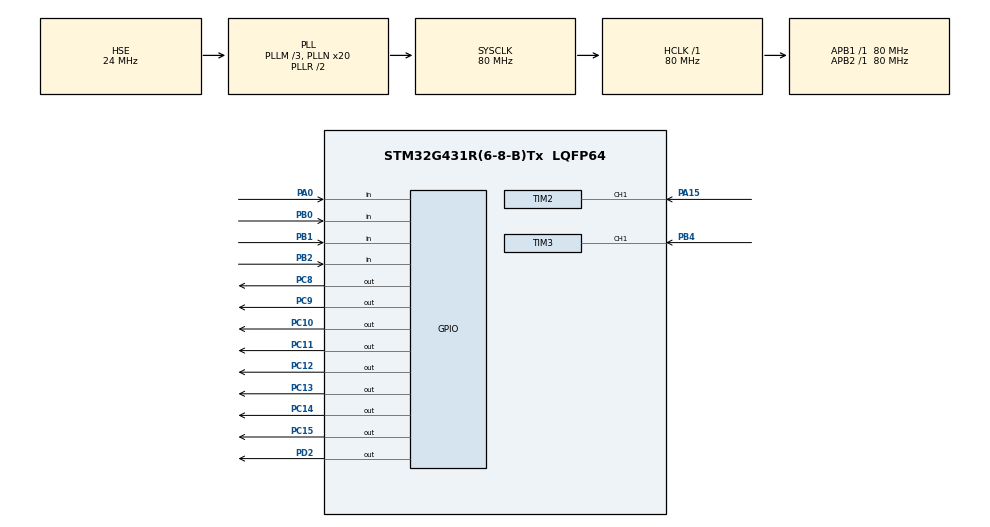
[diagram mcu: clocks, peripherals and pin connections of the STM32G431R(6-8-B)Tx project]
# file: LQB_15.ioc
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Mcu.Family=STM32G4
Mcu.Name=STM32G431R(6-8-B)Tx
Mcu.Package=LQFP64
NVIC.PriorityGroup=NVIC_PRIORITYGROUP_4
NVIC.TIM2_IRQn=true\:1\:0\:true\:false\:true\:true\:true\:true
NVIC.TIM3_IRQn=true\:1\:0\:true\:false\:true\:true\:true\:true
NVIC.TIM6_DAC_IRQn=true\:1\:0\:true\:false\:true\:true\:true\:true
PA0.GPIO_Mode=GPIO_MODE_INPUT
PA0.GPIO_PuPd=GPIO_NOPULL
PA0.Signal=GPIO_Input
PA13.Mode=Serial_Wire
PA13.Signal=SYS_JTMS-SWDIO
PA14.Mode=Serial_Wire
PA14.Signal=SYS_JTCK-SWCLK
PA15.Signal=S_TIM2_CH1
PB0.GPIO_Mode=GPIO_MODE_INPUT
PB0.GPIO_PuPd=GPIO_NOPULL
PB0.Signal=GPIO_Input
PB1.GPIO_Mode=GPIO_MODE_INPUT
PB1.GPIO_PuPd=GPIO_NOPULL
PB1.Signal=GPIO_Input
PB2.GPIO_Mode=GPIO_MODE_INPUT
PB2.GPIO_PuPd=GPIO_NOPULL
PB2.Signal=GPIO_Input
PB4.Signal=S_TIM3_CH1
PC10.GPIO_ModeDefaultOutputPP=GPIO_MODE_OUTPUT_PP
PC10.GPIO_PuPd=GPIO_NOPULL
PC10.GPIO_Speed=GPIO_SPEED_FREQ_LOW
PC10.PinState=GPIO_PIN_SET
PC10.Signal=GPIO_Output
PC11.GPIO_ModeDefaultOutputPP=GPIO_MODE_OUTPUT_PP
PC11.GPIO_PuPd=GPIO_NOPULL
PC11.GPIO_Speed=GPIO_SPEED_FREQ_LOW
PC11.PinState=GPIO_PIN_SET
PC11.Signal=GPIO_Output
PC12.GPIO_ModeDefaultOutputPP=GPIO_MODE_OUTPUT_PP
PC12.GPIO_PuPd=GPIO_NOPULL
PC12.GPIO_Speed=GPIO_SPEED_FREQ_LOW
PC12.PinState=GPIO_PIN_SET
PC12.Signal=GPIO_Output
PC13.GPIO_ModeDefaultOutputPP=GPIO_MODE_OUTPUT_PP
PC13.GPIO_PuPd=GPIO_NOPULL
PC13.GPIO_Speed=GPIO_SPEED_FREQ_LOW
PC13.PinState=GPIO_PIN_SET
PC13.Signal=GPIO_Output
PC14-OSC32_IN.GPIO_ModeDefaultOutputPP=GPIO_MODE_OUTPUT_PP
PC14-OSC32_IN.GPIO_PuPd=GPIO_NOPULL
PC14-OSC32_IN.GPIO_Speed=GPIO_SPEED_FREQ_LOW
PC14-OSC32_IN.PinState=GPIO_PIN_SET
PC14-OSC32_IN.Signal=GPIO_Output
PC15-OSC32_OUT.GPIO_ModeDefaultOutputPP=GPIO_MODE_OUTPUT_PP
PC15-OSC32_OUT.GPIO_PuPd=GPIO_NOPULL
PC15-OSC32_OUT.GPIO_Speed=GPIO_SPEED_FREQ_LOW
PC15-OSC32_OUT.PinState=GPIO_PIN_SET
PC15-OSC32_OUT.Signal=GPIO_Output
PC8.GPIO_ModeDefaultOutputPP=GPIO_MODE_OUTPUT_PP
PC8.GPIO_PuPd=GPIO_NOPULL
PC8.GPIO_Speed=GPIO_SPEED_FREQ_LOW
PC8.PinState=GPIO_PIN_SET
PC8.Signal=GPIO_Output
PC9.GPIO_ModeDefaultOutputPP=GPIO_MODE_OUTPUT_PP
PC9.GPIO_PuPd=GPIO_NOPULL
PC9.GPIO_Speed=GPIO_SPEED_FREQ_LOW
PC9.PinState=GPIO_PIN_SET
PC9.Signal=GPIO_Output
PD2.PinState=GPIO_PIN_SET
PD2.Signal=GPIO_Output
PF0-OSC_IN.Mode=HSE-External-Oscillator
PF0-OSC_IN.Signal=RCC_OSC_IN
PF1-OSC_OUT.Mode=HSE-External-Oscillator
PF1-OSC_OUT.Signal=RCC_OSC_OUT
ProjectManager.HeapSize=0x200
ProjectManager.StackSize=0x400
ProjectManager.TargetToolchain=MDK-ARM V5.32
RCC.ADC12Freq_Value=80000000
RCC.AHBFreq_Value=80000000
RCC.APB1Freq_Value=80000000
RCC.APB1TimFreq_Value=80000000
RCC.APB2Freq_Value=80000000
RCC.APB2TimFreq_Value=80000000
RCC.CortexFreq_Value=80000000
RCC.EXTERNAL_CLOCK_VALUE=12288000
RCC.HCLKFreq_Value=80000000
RCC.HSE_VALUE=24000000
RCC.HSI48_VALUE=48000000
RCC.HSI_VALUE=16000000
RCC.LSE_VALUE=32768
RCC.PLLM=RCC_PLLM_DIV3
RCC.PLLN=20
RCC.PLLSourceVirtual=RCC_PLLSOURCE_HSE
RCC.SYSCLKFreq_VALUE=80000000
RCC.SYSCLKSource=RCC_SYSCLKSOURCE_PLLCLK
RCC.USBFreq_Value=80000000
RCC.VCOOutputFreq_Value=160000000
SH.S_TIM2_CH1.0=TIM2_CH1,Input_Capture1_from_TI1
SH.S_TIM3_CH1.0=TIM3_CH1,Input_Capture1_from_TI1
TIM2.Channel-Input_Capture1_from_TI1=TIM_CHANNEL_1
TIM2.ICFilter_CH1=15
TIM2.Prescaler=80-1
TIM3.Channel-Input_Capture1_from_TI1=TIM_CHANNEL_1
TIM3.ICFilter_CH1=15
TIM3.Prescaler=80-1
TIM6.PeriodNoDither=1000-1
TIM6.Prescaler=80-1
VP_SYS_VS_DBSignals.Mode=DisableDeadBatterySignals
VP_TIM2_VS_ClockSourceINT.Mode=Internal
VP_TIM3_VS_ClockSourceINT.Mode=Internal
VP_TIM6_VS_ClockSourceINT.Mode=Enable_Timer
board=custom

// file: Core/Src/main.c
/* USER CODE BEGIN Header */
/**
  ******************************************************************************
  * @file           : main.c
  * @brief          : Main program body
  ******************************************************************************
  * @attention
  *
  * Copyright (c) 2025 STMicroelectronics.
  * All rights reserved.
  *
  * This software is licensed under terms that can be found in the LICENSE file
  * in the root directory of this software component.
  * If no LICENSE file comes with this software, it is provided AS-IS.
  *
  ******************************************************************************
  */
/* USER CODE END Header */
#include "main.h"
#include "tim.h"
#include "gpio.h"

/* USER CODE BEGIN Includes */
#include "global.h"
#include <string.h>
#include <stdio.h>
#include "led.h"
#include "key.h"
#include "pulse.h"
#include "ui.h"
#include "lcd.h"

/* USER CODE END Includes */

/* USER CODE BEGIN PV */
static uint32_t time_stamp = 0;
/* USER CODE END PV */

void SystemClock_Config(void);

/* USER CODE BEGIN 0 */
void HAL_TIM_PeriodElapsedCallback(TIM_HandleTypeDef *htim){
    if(htim == &htim6){
        time_stamp++;
        keys_process();
    }
}

void led_updata(){
    led_set_bit(1, ui.current_page == DATA1? 0:1);
    led_set_bit(2, pulse.freq_a > pulse.ph? 0:1);
    led_set_bit(3, pulse.freq_b > pulse.ph? 0:1);
    led_set_bit(8, (pulse.nda >= 3 ||pulse.ndb >= 3 )? 0:1);
}

void key_updata(){
    static KeyFlag key1_flag;
    static KeyFlag key2_flag;
    static KeyFlag key3_flag;
    static KeyFlag key4_flag;
    static uint8_t line = 0;

    key_get_flag(&key1, &key1_flag);
    key_get_flag(&key2, &key2_flag);
    key_get_flag(&key3, &key3_flag);
    key_get_flag(&key4, &key4_flag);

    switch (ui.current_page)
    {
    	case DATA1:
            if(key3_flag != NONE){
                ui.current_page = DATA2;
            }
    		break;
    	case DATA2:
            if(key3_flag != NONE){
                ui.current_page = DATA1;
            }
    		break;
    	case PARA:
            if(key3_flag != NONE){
                if(line == 2) line = 0;
                else line ++;
            }
            switch (line){
                case 0:
                    if(key1_flag == SHORT) pulse_add_pd();
                    else if(key2_flag == SHORT) pulse_dec_pd();
                    break;
                case 1:
                    if(key1_flag == SHORT) pulse_add_ph();
                    else if(key2_flag == SHORT) pulse_dec_ph();
                    break;
                case 2:
                    if(key1_flag == SHORT) pulse_add_px();
                    else if(key2_flag == SHORT) pulse_dec_px();
                    break;
            }
            break;
    	case RECO:
            if(key3_flag == LONG){
                pulse.nda = 0;
                pulse.ndb = 0;
                pulse.nha = 0;
                pulse.nhb = 0;
            }
    		break;
    }

    if(key4_flag == SHORT){
        ui_next_page();
        line = 0;
    }
}
/* USER CODE END 0 */

int main(void)
{

  /* MCU Configuration--------------------------------------------------------*/

  /* Reset of all peripherals, Initializes the Flash interface and the Systick. */
  HAL_Init();

  /* Configure the system clock */
  SystemClock_Config();

  /* Initialize all configured peripherals */
  MX_GPIO_Init();
  MX_TIM2_Init();
  MX_TIM3_Init();
  MX_TIM6_Init();
  /* USER CODE BEGIN 2 */
  keys_init();
  led_init();
  ui_init();
  pulse_init();

  HAL_TIM_Base_Start_IT(&htim6);

  /* USER CODE END 2 */

  /* Infinite loop */
  /* USER CODE BEGIN WHILE */
  while (1)
  {
    if(time_stamp >= 100){
        time_stamp = 0;
        pulse_get();
        ui_show_updata();
        led_updata();
    }
    key_updata();
    /* USER CODE END WHILE */

  }
}

void SystemClock_Config(void)
{
  RCC_OscInitTypeDef RCC_OscInitStruct = {0};
  RCC_ClkInitTypeDef RCC_ClkInitStruct = {0};

  /** Configure the main internal regulator output voltage
  */
  HAL_PWREx_ControlVoltageScaling(PWR_REGULATOR_VOLTAGE_SCALE1);

  /** Initializes the RCC Oscillators according to the specified parameters
  * in the RCC_OscInitTypeDef structure.
  */
  RCC_OscInitStruct.OscillatorType = RCC_OSCILLATORTYPE_HSE;
  RCC_OscInitStruct.HSEState = RCC_HSE_ON;
  RCC_OscInitStruct.PLL.PLLState = RCC_PLL_ON;
  RCC_OscInitStruct.PLL.PLLSource = RCC_PLLSOURCE_HSE;
  RCC_OscInitStruct.PLL.PLLM = RCC_PLLM_DIV3;
  RCC_OscInitStruct.PLL.PLLN = 20;
  RCC_OscInitStruct.PLL.PLLP = RCC_PLLP_DIV2;
  RCC_OscInitStruct.PLL.PLLQ = RCC_PLLQ_DIV2;
  RCC_OscInitStruct.PLL.PLLR = RCC_PLLR_DIV2;
  if (HAL_RCC_OscConfig(&RCC_OscInitStruct) != HAL_OK)
  {
    Error_Handler();
  }

  /** Initializes the CPU, AHB and APB buses clocks
  */
  RCC_ClkInitStruct.ClockType = RCC_CLOCKTYPE_HCLK|RCC_CLOCKTYPE_SYSCLK
                              |RCC_CLOCKTYPE_PCLK1|RCC_CLOCKTYPE_PCLK2;
  RCC_ClkInitStruct.SYSCLKSource = RCC_SYSCLKSOURCE_PLLCLK;
  RCC_ClkInitStruct.AHBCLKDivider = RCC_SYSCLK_DIV1;
  RCC_ClkInitStruct.APB1CLKDivider = RCC_HCLK_DIV1;
  RCC_ClkInitStruct.APB2CLKDivider = RCC_HCLK_DIV1;

  if (HAL_RCC_ClockConfig(&RCC_ClkInitStruct, FLASH_LATENCY_2) != HAL_OK)
  {
    Error_Handler();
  }
}

void Error_Handler(void)
{
  __disable_irq();
  while (1)
  {
  }
}
